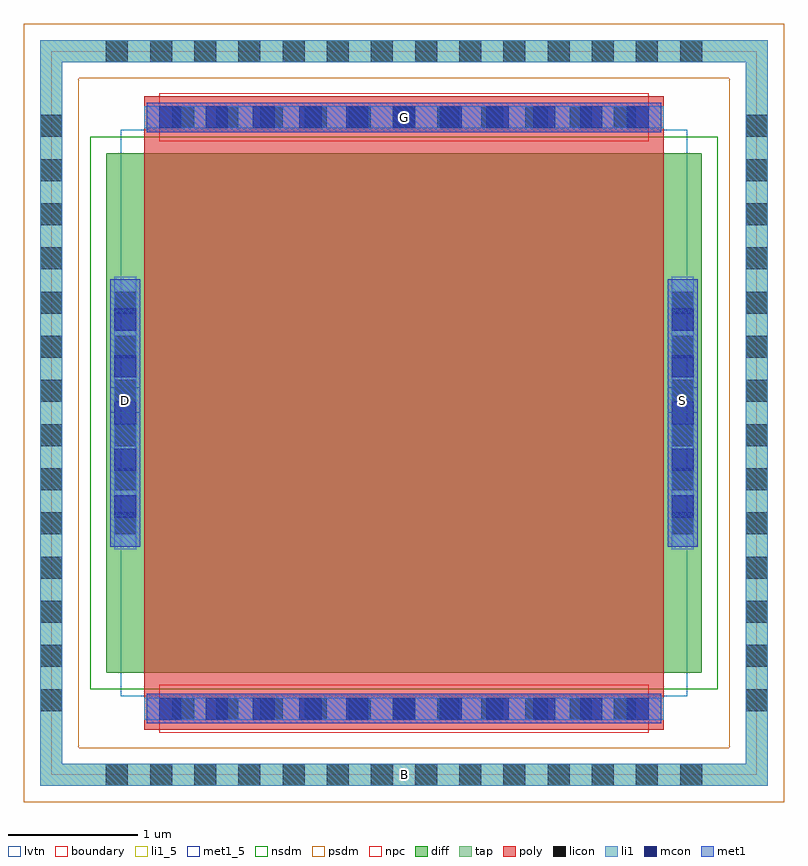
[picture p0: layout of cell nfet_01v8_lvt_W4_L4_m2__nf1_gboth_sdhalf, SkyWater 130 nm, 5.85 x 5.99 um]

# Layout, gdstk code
import gdstk
lib = gdstk.Library(unit=1e-6, precision=1e-09)
def R(c, l, rs):  # rectangles x0, y0, x1, y1
    for r in rs: c.add(gdstk.rectangle(r[:2], r[2:], *l))
def A(c, l, x, y, w, h, nx, ny, dx, dy):  # array of equal rectangles
    R(c, l, [(x+i*dx, y+j*dy, x+i*dx+w, y+j*dy+h) for i in range(nx) for j in range(ny)])
diff = (65, 20)
tap = (65, 44)
poly = (66, 20)
licon = (66, 44)
li1_5 = (67, 5)
li1 = (67, 20)
mcon = (67, 44)
met1_5 = (68, 5)
met1 = (68, 20)
nsdm = (93, 44)
psdm = (94, 20)
npc = (95, 20)
lvtn = (125, 44)
boundary = (235, 4)

sky130_fd_pr__nfet_01v8_ = lib.new_cell('sky130_fd_pr__nfet_01v8_lvt_FYVDF2')
R(sky130_fd_pr__nfet_01v8_, diff, [(-2.29,-2,2.29,2)])
R(sky130_fd_pr__nfet_01v8_, tap, [(-2.8,-2.87,2.8,-2.7), (-2.8,-2.7,-2.63,2.7), (2.63,-2.7,2.8,2.7), (-2.8,2.7,2.8,2.87)])
R(sky130_fd_pr__nfet_01v8_, poly, [(-2,-2.44,2,2.44)])
A(sky130_fd_pr__nfet_01v8_, licon, -2.295, -2.87, 0.17, 0.17, 14, 2, 0.34, 5.57)
A(sky130_fd_pr__nfet_01v8_, licon, -1.785, -2.36, 0.17, 0.17, 11, 2, 0.34, 4.55)
A(sky130_fd_pr__nfet_01v8_, licon, -2.8, -2.295, 0.17, 0.17, 1, 14, 0, 0.34)
A(sky130_fd_pr__nfet_01v8_, licon, 2.63, -2.295, 0.17, 0.17, 1, 14, 0, 0.34)
A(sky130_fd_pr__nfet_01v8_, licon, -2.23, -0.935, 0.17, 0.17, 1, 6, 0, 0.34)
A(sky130_fd_pr__nfet_01v8_, licon, 2.06, -0.935, 0.17, 0.17, 1, 6, 0, 0.34)
R(sky130_fd_pr__nfet_01v8_, li1, [(-2.8,-2.87,2.8,-2.7), (-2.8,-2.7,-2.63,2.7), (2.63,-2.7,2.8,2.7), (-2,-2.36,2,-2.19), (-2.23,-1.05,-2.06,1.05), (2.06,-1.05,2.23,1.05), (-2,2.19,2,2.36), (-2.8,2.7,2.8,2.87)])
A(sky130_fd_pr__nfet_01v8_, mcon, -1.885, -2.36, 0.17, 0.17, 11, 2, 0.36, 4.55)
A(sky130_fd_pr__nfet_01v8_, mcon, -2.23, -0.805, 0.17, 0.17, 1, 5, 0, 0.36)
A(sky130_fd_pr__nfet_01v8_, mcon, 2.06, -0.805, 0.17, 0.17, 1, 5, 0, 0.36)
R(sky130_fd_pr__nfet_01v8_, met1, [(-1.98,-2.39,1.98,-2.16), (-2.26,-1.03,-2.03,1.03), (2.03,-1.03,2.26,1.03), (-1.98,2.16,1.98,2.39)])
R(sky130_fd_pr__nfet_01v8_, nsdm, [(-2.415,-2.125,2.415,2.125)])
R(sky130_fd_pr__nfet_01v8_, psdm, [(-2.925,-2.995,2.925,-2.575), (-2.925,-2.575,-2.505,2.575), (2.505,-2.575,2.925,2.575), (-2.925,2.575,2.925,2.995)])
R(sky130_fd_pr__nfet_01v8_, npc, [(-1.885,-2.46,1.885,-2.09), (-1.885,2.09,1.885,2.46)])
R(sky130_fd_pr__nfet_01v8_, lvtn, [(-2.18,-2.18,2.18,2.18)])
R(sky130_fd_pr__nfet_01v8_, boundary, [(-2.715,-2.785,2.715,2.785)])
sky130_fd_pr__nfet_01v8_.add(gdstk.Label('B', (0,-2.785), layer=67, texttype=5))
sky130_fd_pr__nfet_01v8_.add(gdstk.Label('D', (-2.145,0), layer=67, texttype=5))
sky130_fd_pr__nfet_01v8_.add(gdstk.Label('S', (2.145,0), layer=67, texttype=5))
sky130_fd_pr__nfet_01v8_.add(gdstk.Label('G', (0,2.275), layer=67, texttype=5))

nfet_01v8_lvt_w4_l4_m2__ = lib.new_cell('nfet_01v8_lvt_W4_L4_m2__nf1_gboth_sdhalf')
R(nfet_01v8_lvt_w4_l4_m2__, li1_5, [(2.63,-0.085,2.8,0.085)])
R(nfet_01v8_lvt_w4_l4_m2__, li1, [(2.63,-0.085,2.8,0.085)])
R(nfet_01v8_lvt_w4_l4_m2__, met1_5, [(0.455,2.785,0.685,2.985), (4.745,2.785,4.975,2.985), (0.735,4.945,4.695,5.175)])
R(nfet_01v8_lvt_w4_l4_m2__, met1, [(0.455,2.785,0.685,2.985), (4.745,2.785,4.975,2.985), (0.735,4.945,4.695,5.175)])
nfet_01v8_lvt_w4_l4_m2__.add(gdstk.Reference(sky130_fd_pr__nfet_01v8_, (2.715,2.785)))
nfet_01v8_lvt_w4_l4_m2__.add(gdstk.Label('D', (0.57,2.885), layer=68, texttype=5))
nfet_01v8_lvt_w4_l4_m2__.add(gdstk.Label('S', (4.86,2.885), layer=68, texttype=5))
nfet_01v8_lvt_w4_l4_m2__.add(gdstk.Label('G', (2.715,5.06), layer=68, texttype=5))
nfet_01v8_lvt_w4_l4_m2__.add(gdstk.Label('B', (2.715,0), layer=67, texttype=5))

lib.write_gds('nfet_01v8_lvt_W4_L4_m2__nf1_gboth_sdhalf.gds')
